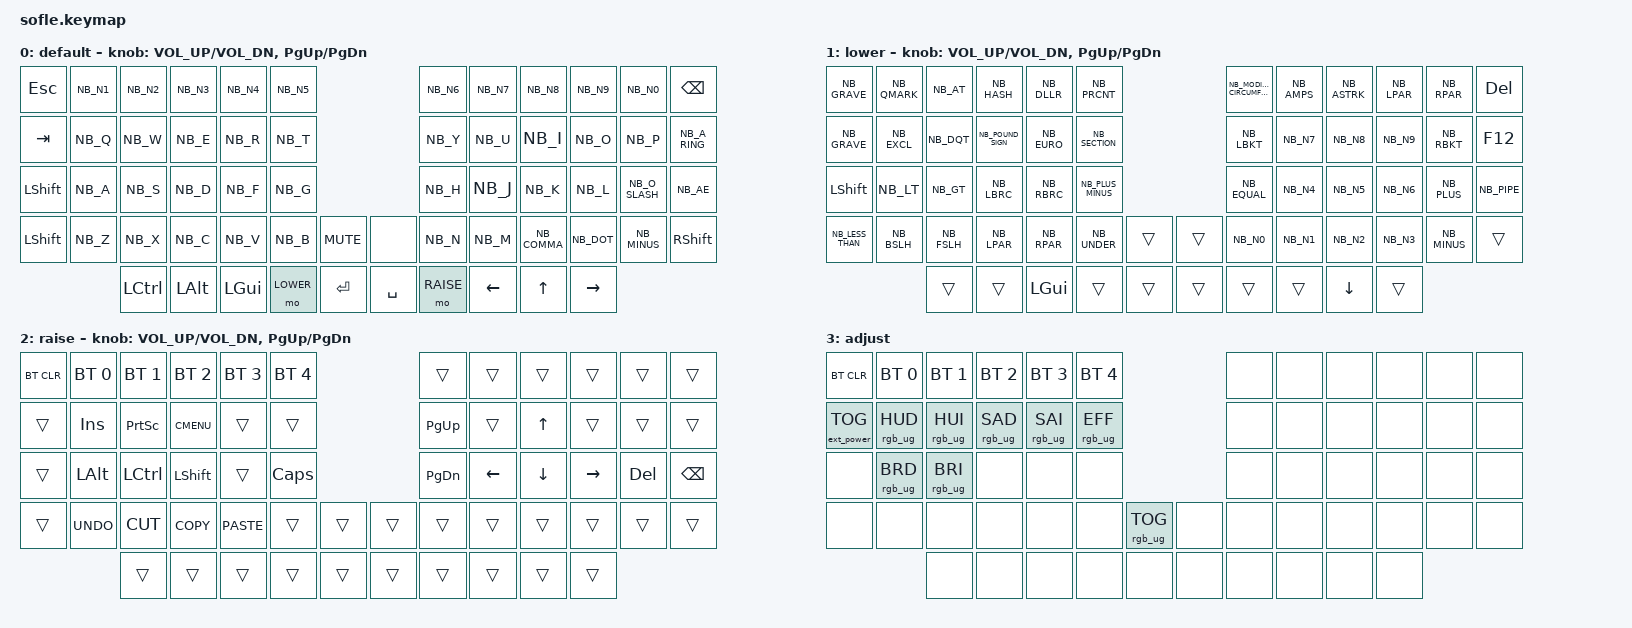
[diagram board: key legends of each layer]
/*
 * Copyright (c) 2020 The ZMK Contributors
 *
 * SPDX-License-Identifier: MIT
 */


#include "keys_nb.h"
#include <behaviors.dtsi>
#include <dt-bindings/zmk/bt.h>
#include <dt-bindings/zmk/ext_power.h>
#include <dt-bindings/zmk/keys.h>
#include <dt-bindings/zmk/rgb.h>


#define BASE 0
#define LOWER 1
#define RAISE 2
#define ADJUST 3

&led_strip {
    chain-length = <35>;
};

&left_encoder {
    resolution = <2>;
};
/ {
    // Activate ADJUST layer by pressing raise and lower

    conditional_layers {
        compatible = "zmk,conditional-layers";

        adjust_layer {
            if-layers = <LOWER RAISE>;
            then-layer = <ADJUST>;
        };
    };

    keymap {
        compatible = "zmk,keymap";

        default_layer {
            display-name = "default";

            // ------------------------------------------------------------------------------------------------------------
            // |  ESC  |  1  |  2  |  3  |  4  |  5  |                   |  6  |  7  |  8  |  9  |  0   | BKSPC |
            // |  TAB  |  Q  |  W  |  E  |  R  |  T  |                   |  Y  |  U  |  I  |  O  |  P   |   Å   |
            // | SHIFT |  A  |  S  |  D  |  F  |  G  |                   |  H  |  J  |  K  |  L  |  Ø   |   Æ   |
            // | SHIFT |  Z  |  X  |  C  |  V  |  B  |  MUTE  |  |      |  N  |  M  |  ,  |  .  |  -   | SHIFT |
            //               | CTRL| ALT | GUI |LOWER| ENTER |  | SPACE |RAISE| LEFT| UP  | RIGHT|

            bindings = <
&kp ESC    &kp NB_N1  &kp NB_N2     &kp NB_N3  &kp NB_N4  &kp NB_N5                          &kp NB_N6  &kp NB_N7  &kp NB_N8    &kp NB_N9   &kp NB_N0     &kp BSPC
&kp TAB    &kp NB_Q   &kp NB_W      &kp NB_E   &kp NB_R   &kp NB_T                           &kp NB_Y   &kp NB_U   &kp NB_I     &kp NB_O    &kp NB_P      &kp NB_A_RING
&kp LSHFT  &kp NB_A   &kp NB_S      &kp NB_D   &kp NB_F   &kp NB_G                           &kp NB_H   &kp NB_J   &kp NB_K     &kp NB_L    &kp NB_O_SLASH &kp NB_AE
&kp LSHFT  &kp NB_Z   &kp NB_X      &kp NB_C   &kp NB_V   &kp NB_B   &kp C_MUTE    &none    &kp NB_N   &kp NB_M   &kp NB_COMMA &kp NB_DOT  &kp NB_MINUS  &kp RSHFT
                      &kp LCTRL     &kp LALT  &kp LGUI  &mo LOWER  &kp RET      &kp SPACE &mo RAISE  &kp LEFT &kp UP    &kp RIGHT
            >;

            sensor-bindings = <&inc_dec_kp C_VOL_UP C_VOL_DN &inc_dec_kp PG_UP PG_DN>;
        };

        lower_layer {
            display-name = "lower";

            // ------------------------------------------------------------------------------------------------------------
            // |   ~   |  ?  |  @  |  #   |  $   |  %   |                   |  ^   |  &    |  *    |  (   |   )   |  DEL  |
            // |   `   |  !  |  "  |  £   |  €   |  §   |                   |  [   |  7    |  8    |  9   |   ]   |  F12  |
            // | SHIFT |  <  |  >  |  {   |  }   |  ±   |                   |  =   |  4    |  5    |  6   |   +   |   |   |
            // |    <  |  \  |  /  |  (   |  )   |  _   |        |  |       |  0   |  1    |  2    |  3   |   -   |       |
            //               |     |      |      |      |        |  |       |      |       |  DOWN |      |

            bindings = <
&kp NB_GRAVE     &kp NB_QMARK      &kp NB_AT        &kp NB_HASH      &kp NB_DLLR      &kp NB_PRCNT                              &kp NB_MODIFIER_CIRCUMFLEX      &kp NB_AMPS      &kp NB_ASTRK      &kp NB_LPAR      &kp NB_RPAR      &kp DEL
&kp NB_GRAVE     &kp NB_EXCL       &kp NB_DQT       &kp NB_POUND_SIGN &kp NB_EURO      &kp NB_SECTION                           &kp NB_LBKT                     &kp NB_N7        &kp NB_N8         &kp NB_N9        &kp NB_RBKT      &kp F12
&kp LSHFT        &kp NB_LT         &kp NB_GT        &kp NB_LBRC      &kp NB_RBRC      &kp NB_PLUS_MINUS                        &kp NB_EQUAL                    &kp NB_N4        &kp NB_N5         &kp NB_N6        &kp NB_PLUS      &kp NB_PIPE
&kp NB_LESS_THAN &kp NB_BSLH       &kp NB_FSLH      &kp NB_LPAR      &kp NB_RPAR      &kp NB_UNDER      &trans    &trans      &kp NB_N0                      &kp NB_N1        &kp NB_N2         &kp NB_N3        &kp NB_MINUS     &trans
                                   &trans           &trans           &kp LGUI         &trans            &trans        &trans    &trans                           &trans           &kp DOWN          &trans
            >;

            sensor-bindings = <&inc_dec_kp C_VOL_UP C_VOL_DN &inc_dec_kp PG_UP PG_DN>;
        };

        raise_layer {
            display-name = "raise";

            // ------------------------------------------------------------------------------------------------------------
            // |  BTCLR |  BT1  |  BT2  |  BT3  |  BT4  |  BT5  |                |      |       |   ^   |      |       |       |
            // |        |  INS  | PSCR  |  GUI  |       |       |                | PGUP |       |   ^   |      |   0   |       |
            // |        |  ALT  | CTRL  | SHIFT |       |  CAPS |                | PGDN |   <-  |   v   |  ->  |  DEL  | BKSPC |
            // |        |  UNDO |  CUT  | COPY  | PASTE |       |       |  |     |      |       |       |      |       |       |
            //                  |       |       |       |       |       |  |     |      |       |       |      |

            bindings = <
&bt BT_CLR  &bt BT_SEL 0  &bt BT_SEL 1  &bt BT_SEL 2  &bt BT_SEL 3  &bt BT_SEL 4                    &trans     &trans    &trans    &trans    &trans   &trans
&trans      &kp INS       &kp PSCRN     &kp K_CMENU   &trans        &trans                          &kp PG_UP  &trans    &kp UP    &trans    &trans   &trans
&trans      &kp LALT      &kp LCTRL     &kp LSHFT     &trans        &kp CLCK                        &kp PG_DN  &kp LEFT  &kp DOWN  &kp RIGHT &kp DEL  &kp BSPC
&trans      &kp K_UNDO    &kp K_CUT     &kp K_COPY    &kp K_PASTE   &trans        &trans    &trans  &trans     &trans    &trans    &trans    &trans   &trans
                          &trans        &trans        &trans        &trans        &trans    &trans  &trans     &trans    &trans    &trans
            >;

            sensor-bindings = <&inc_dec_kp C_VOL_UP C_VOL_DN &inc_dec_kp PG_UP PG_DN>;
        };

        adjust_layer {
            display-name = "adjust";

            // ------------------------------------------------------------------------------------------------------------
            // |  BTCLR  |  BT1    |  BT2    |  BT3    |  BT4    |  BT5    |                |      |      |      |      |      |      |
            // | EXTPWR  | RGB_HUD | RGB_HUI | RGB_SAD | RGB_SAI | RGB_EFF |                |      |      |      |      |      |      |
            // |         | RGB_BRD | RGB_BRI |         |         |         |                |      |      |      |      |      |      |
            // |         |         |         |         |         |         | RGB_TOG |  |    |      |      |      |      |      |      |
            //                     |         |         |         |         |         |  |    |      |      |      |      |

            bindings = <
&bt BT_CLR         &bt BT_SEL 0     &bt BT_SEL 1     &bt BT_SEL 2     &bt BT_SEL 3     &bt BT_SEL 4                               &none  &none  &none  &none  &none  &none
&ext_power EP_TOG  &rgb_ug RGB_HUD  &rgb_ug RGB_HUI  &rgb_ug RGB_SAD  &rgb_ug RGB_SAI  &rgb_ug RGB_EFF                            &none  &none  &none  &none  &none  &none
&none              &rgb_ug RGB_BRD  &rgb_ug RGB_BRI  &none            &none            &none                                       &none  &none  &none  &none  &none  &none
&none              &none            &none            &none            &none            &none            &rgb_ug RGB_TOG    &none   &none  &none  &none  &none  &none  &none
                                    &none            &none            &none            &none            &none              &none   &none  &none  &none  &none
            >;
        };
    };
};
